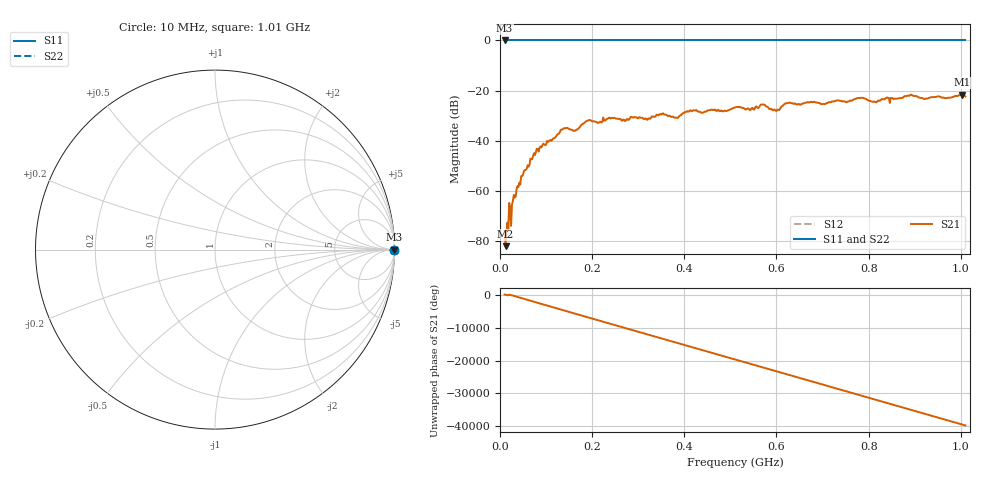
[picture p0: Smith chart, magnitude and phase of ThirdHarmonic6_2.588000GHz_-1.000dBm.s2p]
! 8/17/2025 5:31:35 AM
! C:\ANRITSUVNA\TEMP\TEMP.S2P
! CHANNEL.1
! TR.MEASUREMENT
! RAW.DATA
! RF.CORRECTION.OFF
! AVERAGING.OFF
! IF.BANDWIDTH: 5KHZ
! SWEEPTYPE:  FREQ.SWEEP(Linear)
! Reference Plane Port Info
! PORT:  PORT1  PORT2
! DISTANCE:  0  m  0  m
! TIME:  0  s  0  s
! PHASE.OFFSET:  0  deg.  0  deg.
! LOSS:  0  dB  0  dB
! REF.LOSS:  0  dB  0  dB
! REF.FREQ:  0  Hz  0  Hz
! Power Info
! POWER:  -20  dBm  -20  dBm
! EFF.POWER:  -20  dBm  -20  dBm
! SOURCE.ATTEN:  0  dB  0  dB
! TEST.ATTEN:  0  dB  0  dB
# GHZ S RI R 50.0
! FREQ.GHZ  S11RE  S11IM  S21RE  S21IM  S12RE  S12IM  S22RE  S22IM
!; PortSelection: Port_12
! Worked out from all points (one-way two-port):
!   501 points, 10 MHz to 1.01 GHz, reference 50 ohm
!   highest |S21| = -21.57 dB at 1.002 GHz (marker M1); lowest = -82.1 dB at 12 MHz (marker M2)
!   lowest |S11| = 0.0 dB at 10 MHz (marker M3)
!   |S11| at or under -10 dB: nowhere
!   |S22| runs from 0.0 to 0.0 dB; largest |S21 - S12| = 1.1
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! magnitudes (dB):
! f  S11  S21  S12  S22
! 10 MHz  0.0  -76.0  0.0  0.0
! 12 MHz  0.0  -82.1  0.0  0.0
! 34 MHz  0.0  -62.3  0.0  0.0
! 50 MHz  0.0  -53.5  0.0  0.0
! 76 MHz  0.0  -45.7  0.0  0.0
! 136 MHz  0.0  -35.5  0.0  0.0
! 164 MHz  0.0  -36.0  0.0  0.0
! 178 MHz  0.0  -33.5  0.0  0.0
! 192 MHz  0.0  -31.9  0.0  0.0
! 322 MHz  0.0  -31.1  0.0  0.0
! 344 MHz  0.0  -29.9  0.0  0.0
! 382 MHz  0.0  -30.8  0.0  0.0
! 410 MHz  0.0  -28.4  0.0  0.0
! 510 MHz  0.0  -26.7  0.0  0.0
! 546 MHz  0.0  -27.1  0.0  0.0
! 570 MHz  0.0  -25.6  0.0  0.0
! 602 MHz  0.0  -27.6  0.0  0.0
! 624 MHz  0.0  -25.0  0.0  0.0
! 678 MHz  0.0  -24.7  0.0  0.0
! 844 MHz  0.0  -23.0  0.0  0.0
! 1.002 GHz  0.0  -21.6  0.0  0.0
! 1.01 GHz  0.0  -22.3  0.0  0.0
